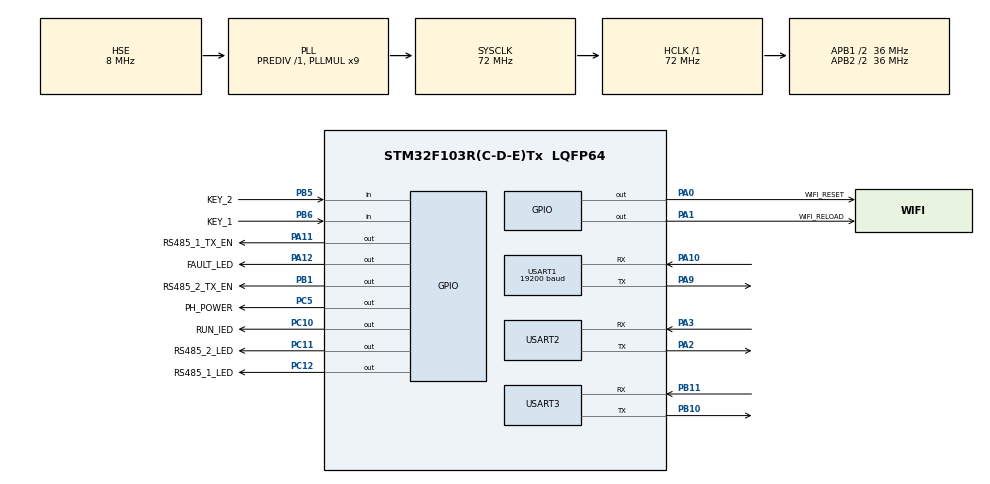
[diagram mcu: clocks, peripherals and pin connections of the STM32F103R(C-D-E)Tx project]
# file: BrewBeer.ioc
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Dma.Request0=USART3_RX
Dma.Request1=USART3_TX
Dma.Request2=USART2_RX
Dma.Request3=USART2_TX
Dma.Request4=USART1_RX
Dma.Request5=USART1_TX
Dma.USART1_RX.4.Direction=DMA_PERIPH_TO_MEMORY
Dma.USART1_RX.4.Instance=DMA1_Channel5
Dma.USART1_RX.4.MemDataAlignment=DMA_MDATAALIGN_BYTE
Dma.USART1_RX.4.MemInc=DMA_MINC_ENABLE
Dma.USART1_RX.4.Mode=DMA_NORMAL
Dma.USART1_RX.4.PeriphDataAlignment=DMA_PDATAALIGN_BYTE
Dma.USART1_RX.4.PeriphInc=DMA_PINC_DISABLE
Dma.USART1_RX.4.Priority=DMA_PRIORITY_HIGH
Dma.USART1_TX.5.Direction=DMA_MEMORY_TO_PERIPH
Dma.USART1_TX.5.Instance=DMA1_Channel4
Dma.USART1_TX.5.MemDataAlignment=DMA_MDATAALIGN_BYTE
Dma.USART1_TX.5.MemInc=DMA_MINC_ENABLE
Dma.USART1_TX.5.Mode=DMA_NORMAL
Dma.USART1_TX.5.PeriphDataAlignment=DMA_PDATAALIGN_BYTE
Dma.USART1_TX.5.PeriphInc=DMA_PINC_DISABLE
Dma.USART1_TX.5.Priority=DMA_PRIORITY_LOW
Dma.USART2_RX.2.Direction=DMA_PERIPH_TO_MEMORY
Dma.USART2_RX.2.Instance=DMA1_Channel6
Dma.USART2_RX.2.MemDataAlignment=DMA_MDATAALIGN_BYTE
Dma.USART2_RX.2.MemInc=DMA_MINC_ENABLE
Dma.USART2_RX.2.Mode=DMA_NORMAL
Dma.USART2_RX.2.PeriphDataAlignment=DMA_PDATAALIGN_BYTE
Dma.USART2_RX.2.PeriphInc=DMA_PINC_DISABLE
Dma.USART2_RX.2.Priority=DMA_PRIORITY_HIGH
Dma.USART2_TX.3.Direction=DMA_MEMORY_TO_PERIPH
Dma.USART2_TX.3.Instance=DMA1_Channel7
Dma.USART2_TX.3.MemDataAlignment=DMA_MDATAALIGN_BYTE
Dma.USART2_TX.3.MemInc=DMA_MINC_ENABLE
Dma.USART2_TX.3.Mode=DMA_NORMAL
Dma.USART2_TX.3.PeriphDataAlignment=DMA_PDATAALIGN_BYTE
Dma.USART2_TX.3.PeriphInc=DMA_PINC_DISABLE
Dma.USART2_TX.3.Priority=DMA_PRIORITY_LOW
Dma.USART3_RX.0.Direction=DMA_PERIPH_TO_MEMORY
Dma.USART3_RX.0.Instance=DMA1_Channel3
Dma.USART3_RX.0.MemDataAlignment=DMA_MDATAALIGN_BYTE
Dma.USART3_RX.0.MemInc=DMA_MINC_ENABLE
Dma.USART3_RX.0.Mode=DMA_NORMAL
Dma.USART3_RX.0.PeriphDataAlignment=DMA_PDATAALIGN_BYTE
Dma.USART3_RX.0.PeriphInc=DMA_PINC_DISABLE
Dma.USART3_RX.0.Priority=DMA_PRIORITY_HIGH
Dma.USART3_TX.1.Direction=DMA_MEMORY_TO_PERIPH
Dma.USART3_TX.1.Instance=DMA1_Channel2
Dma.USART3_TX.1.MemDataAlignment=DMA_MDATAALIGN_BYTE
Dma.USART3_TX.1.MemInc=DMA_MINC_ENABLE
Dma.USART3_TX.1.Mode=DMA_NORMAL
Dma.USART3_TX.1.PeriphDataAlignment=DMA_PDATAALIGN_BYTE
Dma.USART3_TX.1.PeriphInc=DMA_PINC_DISABLE
Dma.USART3_TX.1.Priority=DMA_PRIORITY_LOW
FREERTOS.INCLUDE_uxTaskGetStackHighWaterMark=1
FREERTOS.INCLUDE_xTaskGetCurrentTaskHandle=1
FREERTOS.Queues01=SerialQueue,5,uint32_t,NULL;KeyQueue,4,uint8_t,NULL;SysQueue,8,uint32_t,NULL
FREERTOS.Tasks01=System,0,200,SystemTask,Default;SerialServer,2,300,SerialServerTask,Default;ReadKey,0,128,ReadKeyTask,Default;DealKey,1,200,DealKeyTask,Default;Watcher,0,400,WatcherTask,Default
FREERTOS.configTOTAL_HEAP_SIZE=20480
FREERTOS.configUSE_IDLE_HOOK=1
FREERTOS.configUSE_TICK_HOOK=1
IWDG.Prescaler=IWDG_PRESCALER_64
Mcu.Family=STM32F1
Mcu.Name=STM32F103R(C-D-E)Tx
Mcu.Package=LQFP64
NVIC.DMA1_Channel2_IRQn=true\:5\:0\:true\:false\:true\:true
NVIC.DMA1_Channel3_IRQn=true\:5\:0\:false\:false\:true\:true
NVIC.DMA1_Channel4_IRQn=true\:5\:0\:false\:false\:true\:true
NVIC.DMA1_Channel5_IRQn=true\:5\:0\:false\:false\:true\:true
NVIC.DMA1_Channel6_IRQn=true\:5\:0\:false\:false\:true\:true
NVIC.DMA1_Channel7_IRQn=true\:5\:0\:false\:false\:true\:true
NVIC.PriorityGroup=NVIC_PRIORITYGROUP_4
NVIC.TIM1_UP_IRQn=true\:8\:0\:true\:false\:true\:true
NVIC.TIM2_IRQn=true\:8\:0\:true\:false\:true\:true
NVIC.TIM3_IRQn=true\:8\:0\:true\:false\:true\:true
NVIC.TIM4_IRQn=true\:8\:0\:true\:false\:true\:true
NVIC.TIM5_IRQn=true\:8\:0\:true\:false\:true\:true
NVIC.TIM6_IRQn=true\:8\:0\:true\:false\:true\:true
NVIC.TIM7_IRQn=true\:0\:0\:false\:false\:true\:false
NVIC.TimeBase=TIM7_IRQn
NVIC.TimeBaseIP=TIM7
NVIC.USART1_IRQn=true\:5\:0\:true\:false\:true\:true
NVIC.USART2_IRQn=true\:5\:0\:false\:false\:true\:true
NVIC.USART3_IRQn=true\:5\:0\:false\:false\:true\:true
PA0-WKUP.GPIO_Label=WIFI_RESET
PA0-WKUP.Signal=GPIO_Output
PA1.GPIO_Label=WIFI_RELOAD
PA1.Signal=GPIO_Output
PA10.Mode=Asynchronous
PA10.Signal=USART1_RX
PA11.GPIO_Label=RS485_1_TX_EN
PA11.Signal=GPIO_Output
PA12.GPIO_Label=FAULT_LED
PA12.Signal=GPIO_Output
PA13.Mode=Serial_Wire
PA13.Signal=SYS_JTMS-SWDIO
PA14.Mode=Serial_Wire
PA14.Signal=SYS_JTCK-SWCLK
PA2.Mode=Asynchronous
PA2.Signal=USART2_TX
PA3.Mode=Asynchronous
PA3.Signal=USART2_RX
PA9.Mode=Asynchronous
PA9.Signal=USART1_TX
PB1.GPIO_Label=RS485_2_TX_EN
PB1.Signal=GPIO_Output
PB10.Mode=Asynchronous
PB10.Signal=USART3_TX
PB11.Mode=Asynchronous
PB11.Signal=USART3_RX
PB5.GPIO_Label=KEY_2
PB5.Signal=GPIO_Input
PB6.GPIO_Label=KEY_1
PB6.Signal=GPIO_Input
PC10.GPIO_Label=RUN_IED
PC10.Signal=GPIO_Output
PC11.GPIO_Label=RS485_2_LED
PC11.Signal=GPIO_Output
PC12.GPIO_Label=RS485_1_LED
PC12.Signal=GPIO_Output
PC14-OSC32_IN.Mode=LSE-External-Oscillator
PC14-OSC32_IN.Signal=RCC_OSC32_IN
PC15-OSC32_OUT.Mode=LSE-External-Oscillator
PC15-OSC32_OUT.Signal=RCC_OSC32_OUT
PC5.GPIO_Label=PH_POWER
PC5.Signal=GPIO_Output
PD0-OSC_IN.Mode=HSE-External-Oscillator
PD0-OSC_IN.Signal=RCC_OSC_IN
PD1-OSC_OUT.Mode=HSE-External-Oscillator
PD1-OSC_OUT.Signal=RCC_OSC_OUT
ProjectManager.HeapSize=0x800
ProjectManager.StackSize=0x800
ProjectManager.TargetToolchain=MDK-ARM V5
RCC.AHBFreq_Value=72000000
RCC.APB1CLKDivider=RCC_HCLK_DIV2
RCC.APB1Freq_Value=36000000
RCC.APB1TimFreq_Value=72000000
RCC.APB2CLKDivider=RCC_HCLK_DIV2
RCC.APB2Freq_Value=36000000
RCC.APB2TimFreq_Value=72000000
RCC.HCLKFreq_Value=72000000
RCC.HSIState=RCC_HSI_ON
RCC.PLLMUL=RCC_PLL_MUL9
RCC.PLLSourceVirtual=RCC_PLLSOURCE_HSE
RCC.RTCClockSelection=RCC_RTCCLKSOURCE_LSE
RCC.SYSCLKFreq_VALUE=72000000
RCC.SYSCLKSource=RCC_SYSCLKSOURCE_PLLCLK
RCC.USBFreq_Value=72000000
TIM1.Period=999
TIM1.Prescaler=71
TIM2.Period=999
TIM2.Prescaler=71
TIM3.Period=999
TIM3.Prescaler=71
TIM4.Period=999
TIM4.Prescaler=71
TIM5.Period=999
TIM5.Prescaler=71
TIM6.Period=999
TIM6.Prescaler=71
USART1.BaudRate=19200
VP_FREERTOS_VS_ENABLE.Mode=Enabled
VP_IWDG_VS_IWDG.Mode=IWDG_Activate
VP_RTC_No_RTC_Output.Mode=RTC_OUT_NO
VP_SYS_VS_tim7.Mode=TIM7
VP_TIM1_VS_ClockSourceINT.Mode=Internal
VP_TIM2_VS_ClockSourceINT.Mode=Internal
VP_TIM3_VS_ClockSourceINT.Mode=Internal
VP_TIM4_VS_ClockSourceINT.Mode=Internal
VP_TIM5_VS_ClockSourceINT.Mode=Internal
VP_TIM6_VS_ClockSourceINT.Mode=Enable_Timer
board=BrewBeer

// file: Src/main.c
/**
  ******************************************************************************
  * File Name          : main.c
  * Description        : Main program body
  ******************************************************************************
  *
  * COPYRIGHT(c) 2017 STMicroelectronics
  *
  * Redistribution and use in source and binary forms, with or without modification,
  * are permitted provided that the following conditions are met:
  *   1. Redistributions of source code must retain the above copyright notice,
  *      this list of conditions and the following disclaimer.
  *   2. Redistributions in binary form must reproduce the above copyright notice,
  *      this list of conditions and the following disclaimer in the documentation
  *      and/or other materials provided with the distribution.
  *   3. Neither the name of STMicroelectronics nor the names of its contributors
  *      may be used to endorse or promote products derived from this software
  *      without specific prior written permission.
  *
  * THIS SOFTWARE IS PROVIDED BY THE COPYRIGHT HOLDERS AND CONTRIBUTORS "AS IS"
  * AND ANY EXPRESS OR IMPLIED WARRANTIES, INCLUDING, BUT NOT LIMITED TO, THE
  * IMPLIED WARRANTIES OF MERCHANTABILITY AND FITNESS FOR A PARTICULAR PURPOSE ARE
  * DISCLAIMED. IN NO EVENT SHALL THE COPYRIGHT HOLDER OR CONTRIBUTORS BE LIABLE
  * FOR ANY DIRECT, INDIRECT, INCIDENTAL, SPECIAL, EXEMPLARY, OR CONSEQUENTIAL
  * DAMAGES (INCLUDING, BUT NOT LIMITED TO, PROCUREMENT OF SUBSTITUTE GOODS OR
  * SERVICES; LOSS OF USE, DATA, OR PROFITS; OR BUSINESS INTERRUPTION) HOWEVER
  * CAUSED AND ON ANY THEORY OF LIABILITY, WHETHER IN CONTRACT, STRICT LIABILITY,
  * OR TORT (INCLUDING NEGLIGENCE OR OTHERWISE) ARISING IN ANY WAY OUT OF THE USE
  * OF THIS SOFTWARE, EVEN IF ADVISED OF THE POSSIBILITY OF SUCH DAMAGE.
  *
  ******************************************************************************
  */
#include "stm32f1xx_hal.h"
#include "cmsis_os.h"
#include "dma.h"
#include "iwdg.h"
#include "rtc.h"
#include "tim.h"
#include "usart.h"
#include "gpio.h"

/* USER CODE BEGIN Includes */
#include "include.h"
/* USER CODE END Includes */

/* USER CODE BEGIN PV */
/* Private variables ---------------------------------------------------------*/

/* USER CODE END PV */

void SystemClock_Config(void);
void Error_Handler(void);
void MX_FREERTOS_Init(void);

/* USER CODE BEGIN PFP */
/* Private function prototypes -----------------------------------------------*/

/* USER CODE END PFP */

int main(void)
{

  /* USER CODE BEGIN 1 */
	my_gpio_init();
	start_app();
  /* USER CODE END 1 */

  /* MCU Configuration----------------------------------------------------------*/

  /* Reset of all peripherals, Initializes the Flash interface and the Systick. */
  HAL_Init();

  /* Configure the system clock */
  SystemClock_Config();

  /* Initialize all configured peripherals */
  MX_GPIO_Init();
  MX_DMA_Init();
  MX_RTC_Init();
  MX_USART1_UART_Init();
  MX_USART2_UART_Init();
  MX_IWDG_Init();
  MX_TIM1_Init();
  MX_TIM2_Init();
  MX_TIM3_Init();
  MX_TIM4_Init();
  MX_TIM5_Init();
  MX_TIM6_Init();
  MX_USART3_UART_Init();

  /* USER CODE BEGIN 2 */

  	PH_POWER_ON;
  	ENABLE_RS485_1_RX;
  	ENABLE_RS485_2_RX;

  	RELEASE_SMART_LINK;
  	RELEASE_WIFI_RESET;

	//SET_SMART_LINK;
	InitSoftTimer();
  	COM1LedBlink(500,0);
  	COM2LedBlink(400,0);
  	RuningLedBlink(300,0);
  	FaultLedBlink(100,0);
	SetAutoUpload(MachineInfo.UploadStepTime);//设置定时上传
	HAL_IWDG_Start(&hiwdg);
  /* USER CODE END 2 */

  /* Call init function for freertos objects (in freertos.c) */
  MX_FREERTOS_Init();

  /* Start scheduler */
  osKernelStart();

  /* We should never get here as control is now taken by the scheduler */

  /* Infinite loop */
  while (1)
  {

  }

}

/** System Clock Configuration
*/
void SystemClock_Config(void)
{

  RCC_OscInitTypeDef RCC_OscInitStruct;
  RCC_ClkInitTypeDef RCC_ClkInitStruct;
  RCC_PeriphCLKInitTypeDef PeriphClkInit;

  RCC_OscInitStruct.OscillatorType = RCC_OSCILLATORTYPE_LSI|RCC_OSCILLATORTYPE_HSE
                              |RCC_OSCILLATORTYPE_LSE;
  RCC_OscInitStruct.HSEState = RCC_HSE_ON;
  RCC_OscInitStruct.HSEPredivValue = RCC_HSE_PREDIV_DIV1;
  RCC_OscInitStruct.LSEState = RCC_LSE_ON;
  RCC_OscInitStruct.LSIState = RCC_LSI_ON;
  RCC_OscInitStruct.PLL.PLLState = RCC_PLL_ON;
  RCC_OscInitStruct.PLL.PLLSource = RCC_PLLSOURCE_HSE;
  RCC_OscInitStruct.PLL.PLLMUL = RCC_PLL_MUL9;
  if (HAL_RCC_OscConfig(&RCC_OscInitStruct) != HAL_OK)
  {
    Error_Handler();
  }

  RCC_ClkInitStruct.ClockType = RCC_CLOCKTYPE_HCLK|RCC_CLOCKTYPE_SYSCLK
                              |RCC_CLOCKTYPE_PCLK1|RCC_CLOCKTYPE_PCLK2;
  RCC_ClkInitStruct.SYSCLKSource = RCC_SYSCLKSOURCE_PLLCLK;
  RCC_ClkInitStruct.AHBCLKDivider = RCC_SYSCLK_DIV1;
  RCC_ClkInitStruct.APB1CLKDivider = RCC_HCLK_DIV2;
  RCC_ClkInitStruct.APB2CLKDivider = RCC_HCLK_DIV2;
  if (HAL_RCC_ClockConfig(&RCC_ClkInitStruct, FLASH_LATENCY_2) != HAL_OK)
  {
    Error_Handler();
  }

  PeriphClkInit.PeriphClockSelection = RCC_PERIPHCLK_RTC;
  PeriphClkInit.RTCClockSelection = RCC_RTCCLKSOURCE_LSE;
  if (HAL_RCCEx_PeriphCLKConfig(&PeriphClkInit) != HAL_OK)
  {
    Error_Handler();
  }

  HAL_SYSTICK_Config(HAL_RCC_GetHCLKFreq()/1000);

  HAL_SYSTICK_CLKSourceConfig(SYSTICK_CLKSOURCE_HCLK);

  /* SysTick_IRQn interrupt configuration */
  HAL_NVIC_SetPriority(SysTick_IRQn, 15, 0);
}

void HAL_TIM_PeriodElapsedCallback(TIM_HandleTypeDef *htim)
{
/* USER CODE BEGIN Callback 0 */
	BaseType_t xHigherPriorityTaskWoken;
	xHigherPriorityTaskWoken = pdFALSE;
	unsigned int SerialQueueData = 0;

	if (htim == &SOFTTIMER) {
		INC_COUNTER_TIMER();
  	}

	if (htim == &WIFITIMER) {
  	HAL_TIM_Base_Stop_IT(&WIFITIMER);
	if(WifiOperatData.DmaCNDTR==  WIFICOM.hdmarx->Instance->CNDTR)
		{
			HAL_UART_DMAStop(&WIFICOM);
			WifiOperatData.recv_data_length= SERIAL_RXBUFF_SIZE -WifiOperatData.DmaCNDTR;
			HAL_UART_Receive_DMA(&WIFICOM, WifiOperatData.Rx_data, SERIAL_RXBUFF_SIZE);
			SerialQueueData = WIFIMSG;
			COM1LedBlink(10,0);
			xQueueSendFromISR(SerialQueueHandle,&SerialQueueData,&xHigherPriorityTaskWoken);
		}
	else
		{
			HAL_TIM_Base_Start_IT(&WIFITIMER);
			WifiOperatData.DmaCNDTR=  WIFICOM.hdmarx->Instance->CNDTR;
		}
 	}

	if (htim == &RS485TIMER1) {
  	HAL_TIM_Base_Stop_IT(&RS485TIMER1);
	if(Rs485_1OperatData.DmaCNDTR==  RS485COM1.hdmarx->Instance->CNDTR)
		{
			HAL_UART_DMAStop(&RS485COM1);
			Rs485_1OperatData.recv_data_length= SERIAL_RXBUFF_SIZE -Rs485_1OperatData.DmaCNDTR;
			HAL_UART_Receive_DMA(&RS485COM1, Rs485_1OperatData.Rx_data, SERIAL_RXBUFF_SIZE);
			SerialQueueData = RS485_1MSG;
			COM1LedBlink(10,0);
			xQueueSendFromISR(SerialQueueHandle,&SerialQueueData,&xHigherPriorityTaskWoken);
		}
	else
		{
			HAL_TIM_Base_Start_IT(&RS485TIMER1);
			Rs485_1OperatData.DmaCNDTR=  RS485COM1.hdmarx->Instance->CNDTR;
		}
  	}

	if (htim == &RS485TIMER2) {
  	HAL_TIM_Base_Stop_IT(&RS485TIMER2);
	if(Rs485_2OperatData.DmaCNDTR==  RS485COM2.hdmarx->Instance->CNDTR)
		{
			HAL_UART_DMAStop(&RS485COM2);
			Rs485_2OperatData.recv_data_length= SERIAL_RXBUFF_SIZE -Rs485_2OperatData.DmaCNDTR;
			HAL_UART_Receive_DMA(&RS485COM2, Rs485_2OperatData.Rx_data, SERIAL_RXBUFF_SIZE);
			SerialQueueData = RS485_2MSG;
			//COM2LedBlink(10,0);
			xQueueSendFromISR(SerialQueueHandle,&SerialQueueData,&xHigherPriorityTaskWoken);
		}
	else
		{
			HAL_TIM_Base_Start_IT(&RS485TIMER2);
			Rs485_2OperatData.DmaCNDTR=  RS485COM2.hdmarx->Instance->CNDTR;
		}
  	}

/* USER CODE END Callback 0 */
  if (htim->Instance == TIM7) {
    HAL_IncTick();
  }
}

void Error_Handler(void)
{
  while(1)
  {
  }
}

/************************ (C) COPYRIGHT STMicroelectronics *****END OF FILE****/

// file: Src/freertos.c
/**
  ******************************************************************************
  * File Name          : freertos.c
  * Description        : Code for freertos applications
  ******************************************************************************
  *
  * COPYRIGHT(c) 2017 STMicroelectronics
  *
  * Redistribution and use in source and binary forms, with or without modification,
  * are permitted provided that the following conditions are met:
  *   1. Redistributions of source code must retain the above copyright notice,
  *      this list of conditions and the following disclaimer.
  *   2. Redistributions in binary form must reproduce the above copyright notice,
  *      this list of conditions and the following disclaimer in the documentation
  *      and/or other materials provided with the distribution.
  *   3. Neither the name of STMicroelectronics nor the names of its contributors
  *      may be used to endorse or promote products derived from this software
  *      without specific prior written permission.
  *
  * THIS SOFTWARE IS PROVIDED BY THE COPYRIGHT HOLDERS AND CONTRIBUTORS "AS IS"
  * AND ANY EXPRESS OR IMPLIED WARRANTIES, INCLUDING, BUT NOT LIMITED TO, THE
  * IMPLIED WARRANTIES OF MERCHANTABILITY AND FITNESS FOR A PARTICULAR PURPOSE ARE
  * DISCLAIMED. IN NO EVENT SHALL THE COPYRIGHT HOLDER OR CONTRIBUTORS BE LIABLE
  * FOR ANY DIRECT, INDIRECT, INCIDENTAL, SPECIAL, EXEMPLARY, OR CONSEQUENTIAL
  * DAMAGES (INCLUDING, BUT NOT LIMITED TO, PROCUREMENT OF SUBSTITUTE GOODS OR
  * SERVICES; LOSS OF USE, DATA, OR PROFITS; OR BUSINESS INTERRUPTION) HOWEVER
  * CAUSED AND ON ANY THEORY OF LIABILITY, WHETHER IN CONTRACT, STRICT LIABILITY,
  * OR TORT (INCLUDING NEGLIGENCE OR OTHERWISE) ARISING IN ANY WAY OUT OF THE USE
  * OF THIS SOFTWARE, EVEN IF ADVISED OF THE POSSIBILITY OF SUCH DAMAGE.
  *
  ******************************************************************************
  */

#include "FreeRTOS.h"
#include "task.h"
#include "cmsis_os.h"

/* USER CODE BEGIN Includes */
#include "include.h"
/* USER CODE END Includes */

osThreadId SystemHandle;
osThreadId SerialServerHandle;
osThreadId ReadKeyHandle;
osThreadId DealKeyHandle;
osThreadId WatcherHandle;
osMessageQId SerialQueueHandle;
osMessageQId KeyQueueHandle;
osMessageQId SysQueueHandle;

/* USER CODE BEGIN Variables */
osMessageQId flash_queueHandle;
/* USER CODE END Variables */

void SystemTask(void const * argument);
void SerialServerTask(void const * argument);
void ReadKeyTask(void const * argument);
void DealKeyTask(void const * argument);
void WatcherTask(void const * argument);

void MX_FREERTOS_Init(void); /* (MISRA C 2004 rule 8.1) */

/* Hook prototypes */
void vApplicationIdleHook(void);
void vApplicationTickHook(void);

/* Init FreeRTOS */

void MX_FREERTOS_Init(void) {

  /* Create the thread(s) */
  /* definition and creation of System */
  osThreadDef(System, SystemTask, osPriorityNormal, 0, 200);
  SystemHandle = osThreadCreate(osThread(System), NULL);

  /* definition and creation of SerialServer */
  osThreadDef(SerialServer, SerialServerTask, osPriorityHigh, 0, 300);
  SerialServerHandle = osThreadCreate(osThread(SerialServer), NULL);

  /* definition and creation of ReadKey */
  osThreadDef(ReadKey, ReadKeyTask, osPriorityNormal, 0, 128);
  ReadKeyHandle = osThreadCreate(osThread(ReadKey), NULL);

  /* definition and creation of DealKey */
  osThreadDef(DealKey, DealKeyTask, osPriorityAboveNormal, 0, 200);
  DealKeyHandle = osThreadCreate(osThread(DealKey), NULL);

  /* definition and creation of Watcher */
  osThreadDef(Watcher, WatcherTask, osPriorityNormal, 0, 400);
  WatcherHandle = osThreadCreate(osThread(Watcher), NULL);

  /* Create the queue(s) */
  /* definition and creation of SerialQueue */
  osMessageQDef(SerialQueue, 5, uint32_t);
  SerialQueueHandle = osMessageCreate(osMessageQ(SerialQueue), NULL);

  /* definition and creation of KeyQueue */
  osMessageQDef(KeyQueue, 4, uint8_t);
  KeyQueueHandle = osMessageCreate(osMessageQ(KeyQueue), NULL);

  /* definition and creation of SysQueue */
  osMessageQDef(SysQueue, 8, uint32_t);
  SysQueueHandle = osMessageCreate(osMessageQ(SysQueue), NULL);

  /* USER CODE BEGIN RTOS_QUEUES */
  /* add queues, ... */
  osMessageQDef(FashQueue, 8, uint32_t);
  flash_queueHandle = osMessageCreate(osMessageQ(FashQueue), NULL);
  /* USER CODE END RTOS_QUEUES */
}

/* SystemTask function */
void SystemTask(void const * argument)
{

  /* USER CODE BEGIN SystemTask */
	save_task_info();
	WifiComStartRecv();
	Rs485_1ComStartRecv();
	Rs485_2ComStartRecv();
	GetDeviceID(MachineInfo.DeviceID);
	RuningLedBlink(1200,1);
  /* Infinite loop */
  for(;;)
  {
    osDelay(1);
  }
  /* USER CODE END SystemTask */
}

/* SerialServerTask function */
void SerialServerTask(void const * argument)
{
  /* USER CODE BEGIN SerialServerTask */
  	unsigned int RecvMsg = 0;
  	save_task_info();
	osDelay(1000);
  /* Infinite loop */
  for(;;)
  {
	xQueueReceive(SerialQueueHandle, &RecvMsg, portMAX_DELAY);
	switch(RecvMsg)
		{
			case WIFIMSG:
				DealWifiRecvData();
				break;
			case RS485_1MSG:
				DealRs485_1RecvData();
				break;

			case RS485_2MSG:
				DealRs485_2RecvData();
				break;

			default:
				break;
		}
  }
  /* USER CODE END SerialServerTask */
}

/* ReadKeyTask function */
void ReadKeyTask(void const * argument)
{
  /* USER CODE BEGIN ReadKeyTask */
  	save_task_info();
  /* Infinite loop */
  for(;;)
  {
	read_key();
	osDelay(35);
  }
  /* USER CODE END ReadKeyTask */
}

/* DealKeyTask function */
void DealKeyTask(void const * argument)
{
  /* USER CODE BEGIN DealKeyTask */
  	save_task_info();
	unsigned char recv_key_value;
  /* Infinite loop */
  for(;;)
  {
	xQueueReceive(KeyQueueHandle, &recv_key_value, portMAX_DELAY);
	deal_key_value(recv_key_value);
  }
  /* USER CODE END DealKeyTask */
}

/* WatcherTask function */
void WatcherTask(void const * argument)
{
  /* USER CODE BEGIN WatcherTask */
	save_task_info();
  /* Infinite loop */
  for(;;)
  {
	osDelay(200);
	HAL_IWDG_Refresh(&hiwdg);

	//UploadDataByRs485_1(&msg);
	//UploadDataByRs485_2(&msg);
  }
  /* USER CODE END WatcherTask */
}

/************************ (C) COPYRIGHT STMicroelectronics *****END OF FILE****/
